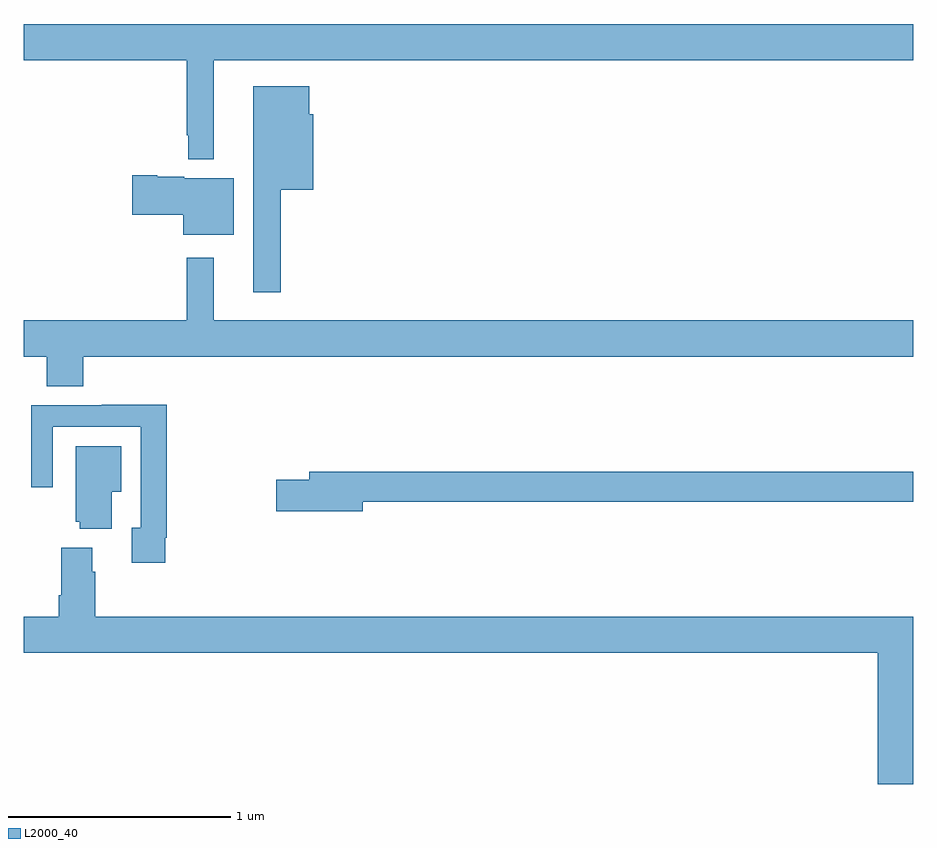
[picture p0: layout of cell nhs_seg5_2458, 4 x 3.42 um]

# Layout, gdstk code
import gdstk
lib = gdstk.Library(unit=1e-6, precision=1e-09)
def P(c, l, *ps):  # polygons
    for p in ps: c.add(gdstk.Polygon(p, *l))
L2000_40 = (2000, 40)

nhs_seg5_2458 = lib.new_cell('nhs_seg5_2458')
P(nhs_seg5_2458, L2000_40, [(253.855,898.052),(257,898.052),(257,898.216),(253,898.216),(253,898.052),(253.734,898.052),(253.734,897.715),(253.741,897.715),(253.741,897.608),(253.855,897.608)],
  [(254.155,897.47),(254.302,897.47),(254.302,897.81),(254.284,897.81),(254.284,897.937),(254.033,897.937),(254.033,897.009),(254.155,897.009)],
  [(253.945,897.523),(253.722,897.523),(253.722,897.529),(253.6,897.529),(253.6,897.536),(253.488,897.536),(253.488,897.358),(253.718,897.358),(253.718,897.269),(253.945,897.269)],
  [(253.268,896.72),(257,896.72),(257,896.884),(253.855,896.884),(253.855,897.166),(253.734,897.166),(253.734,896.884),(253,896.884),(253,896.72),(253.103,896.72),(253.103,896.587),(253.268,896.587)],
  [(253.636,895.906),(253.643,895.906),(253.643,896.504),(253.351,896.504),(253.351,896.502),(253.035,896.502),(253.035,896.133),(253.131,896.133),(253.131,896.406),(253.527,896.406),(253.527,895.95),(253.487,895.95),(253.487,895.794),(253.636,895.794)],
  [(253.396,896.114),(253.438,896.114),(253.438,896.317),(253.235,896.317),(253.235,895.977),(253.253,895.977),(253.253,895.946),(253.396,895.946)],
  [(254.524,896.068),(257,896.068),(257,896.204),(254.285,896.204),(254.285,896.168),(254.136,896.168),(254.136,896.026),(254.524,896.026)],
  [(257,895.552),(253.322,895.552),(253.322,895.754),(253.309,895.754),(253.309,895.861),(253.169,895.861),(253.169,895.648),(253.157,895.648),(253.157,895.552),(253,895.552),(253,895.388),(256.841,895.388),(256.841,894.799),(257,894.799)])

lib.write_gds('nhs_seg5_2458.gds')
